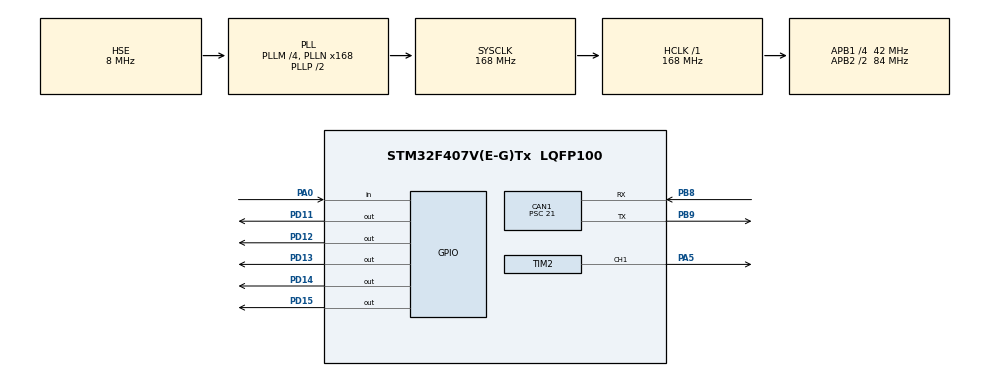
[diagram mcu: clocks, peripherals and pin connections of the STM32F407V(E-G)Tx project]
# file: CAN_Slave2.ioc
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CAN1.BS1=CAN_BS1_2TQ
CAN1.CalculateBaudRate=500000
CAN1.CalculateTimeBit=2000
CAN1.CalculateTimeQuantum=500.0
CAN1.Prescaler=21
Mcu.Family=STM32F4
Mcu.Name=STM32F407V(E-G)Tx
Mcu.Package=LQFP100
NVIC.CAN1_RX0_IRQn=true\:0\:2\:false\:false\:true\:true\:true\:true
NVIC.PriorityGroup=NVIC_PRIORITYGROUP_1
NVIC.TIM2_IRQn=true\:0\:0\:false\:false\:true\:true\:true\:true
PA0-WKUP.Signal=GPIO_Input
PA13.Mode=Serial_Wire
PA13.Signal=SYS_JTMS-SWDIO
PA14.Mode=Serial_Wire
PA14.Signal=SYS_JTCK-SWCLK
PA5.Signal=S_TIM2_CH1_ETR
PB8.Mode=CAN_Activate
PB8.Signal=CAN1_RX
PB9.Mode=CAN_Activate
PB9.Signal=CAN1_TX
PD11.Signal=GPIO_Output
PD12.Signal=GPIO_Output
PD13.Signal=GPIO_Output
PD14.Signal=GPIO_Output
PD15.Signal=GPIO_Output
PH0-OSC_IN.Mode=HSE-External-Oscillator
PH0-OSC_IN.Signal=RCC_OSC_IN
PH1-OSC_OUT.Mode=HSE-External-Oscillator
PH1-OSC_OUT.Signal=RCC_OSC_OUT
ProjectManager.HeapSize=0x200
ProjectManager.StackSize=0x400
ProjectManager.TargetToolchain=STM32CubeIDE
RCC.48MHZClocksFreq_Value=84000000
RCC.AHBFreq_Value=168000000
RCC.APB1CLKDivider=RCC_HCLK_DIV4
RCC.APB1Freq_Value=42000000
RCC.APB1TimFreq_Value=84000000
RCC.APB2CLKDivider=RCC_HCLK_DIV2
RCC.APB2Freq_Value=84000000
RCC.APB2TimFreq_Value=168000000
RCC.CortexFreq_Value=168000000
RCC.HCLKFreq_Value=168000000
RCC.HSE_VALUE=8000000
RCC.HSI_VALUE=16000000
RCC.LSE_VALUE=32768
RCC.PLLM=4
RCC.PLLN=168
RCC.PLLSourceVirtual=RCC_PLLSOURCE_HSE
RCC.SYSCLKFreq_VALUE=168000000
RCC.SYSCLKSource=RCC_SYSCLKSOURCE_PLLCLK
RCC.VCOOutputFreq_Value=336000000
SH.S_TIM2_CH1_ETR.0=TIM2_CH1,PWM Generation1 CH1
TIM2.Channel-PWM\ Generation1\ CH1=TIM_CHANNEL_1
TIM2.Period=1000-1
TIM2.Prescaler=84-1
VP_TIM2_VS_ClockSourceINT.Mode=Internal
board=custom

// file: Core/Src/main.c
/* USER CODE BEGIN Header */
/**
  ******************************************************************************
  * @file           : main.c
  * @brief          : Main program body
  ******************************************************************************
  * @attention
  *
  * Copyright (c) 2023 STMicroelectronics.
  * All rights reserved.
  *
  * This software is licensed under terms that can be found in the LICENSE file
  * in the root directory of this software component.
  * If no LICENSE file comes with this software, it is provided AS-IS.
  *
  ******************************************************************************
  */
/* USER CODE END Header */
#include "main.h"

CAN_HandleTypeDef hcan1;

TIM_HandleTypeDef htim2;

void SystemClock_Config(void);
static void MX_GPIO_Init(void);
static void MX_CAN1_Init(void);
static void MX_TIM2_Init(void);

/* USER CODE BEGIN 0 */
CAN_TxHeaderTypeDef   TxHeader;
CAN_RxHeaderTypeDef   RxHeader;

uint8_t               TxData[8];
uint8_t               RxData[8];

uint32_t              TxMailbox;

uint16_t 	adcValue = 0;
uint32_t 	timeTx = 0;

int pwmLed = 0;

uint8_t btnCheck = 0 ;

//void HAL_GPIO_EXTI_Callback(uint16_t GPIO_Pin){
//	if(GPIO_Pin == GPIO_PIN_0){
//		btnCheck = 1;
////		TxData[0]=  200;
////    /* USER CODE END WHILE */
////		  if (HAL_CAN_AddTxMessage(&hcan1, &TxHeader, TxData, &TxMailbox) != HAL_OK)
////		  {
////		     Error_Handler ();
////		  }
////		  else{
////			  HAL_GPIO_TogglePin(GPIOD, GPIO_PIN_12);
////		  }
//	}
//	else btnCheck = 0;
//}

void HAL_TIM_PeriodElapsedCallback(TIM_HandleTypeDef *htim){
		if (HAL_GPIO_ReadPin(GPIOA, GPIO_PIN_0)){
			btnCheck = 1;
		}
		else{
			btnCheck = 0;
		}

		TxHeader.StdId = 0x0C;
		TxData[0] = btnCheck;
		if (timeTx++ >= 200){
			if (HAL_CAN_AddTxMessage(&hcan1, &TxHeader, TxData, &TxMailbox) != HAL_OK)
				{
				NVIC_SystemReset ();
				}
			timeTx = 0;
		}
}

void HAL_CAN_RxFifo0MsgPendingCallback(CAN_HandleTypeDef *hcan){
	  if (HAL_CAN_GetRxMessage(hcan, CAN_RX_FIFO0, &RxHeader, RxData) != HAL_OK)
	  {
	    Error_Handler();
	  }

	  if (RxHeader.StdId == 0x0B)
	  {
		  adcValue = RxData[0]<<8 | RxData[1];	// RxData[0]: high byte 	RxData[1]: low bytes
	  }
}

void adcHandle(){
	  if(adcValue==0){
		  HAL_GPIO_WritePin(GPIOD, GPIO_PIN_12, RESET);
		  HAL_GPIO_WritePin(GPIOD, GPIO_PIN_13, RESET);
		  HAL_GPIO_WritePin(GPIOD, GPIO_PIN_14, RESET);
		  HAL_GPIO_WritePin(GPIOD, GPIO_PIN_15, RESET);
	  }
	  else if(adcValue > 0 && adcValue <= 1023){
		  HAL_GPIO_WritePin(GPIOD, GPIO_PIN_12, SET);
		  HAL_GPIO_WritePin(GPIOD, GPIO_PIN_13, RESET);
		  HAL_GPIO_WritePin(GPIOD, GPIO_PIN_14, RESET);
		  HAL_GPIO_WritePin(GPIOD, GPIO_PIN_15, RESET);
	  }
	  else if(adcValue > 1023 && adcValue <= 2047){
		  HAL_GPIO_WritePin(GPIOD, GPIO_PIN_12, SET);
		  HAL_GPIO_WritePin(GPIOD, GPIO_PIN_13, SET);
		  HAL_GPIO_WritePin(GPIOD, GPIO_PIN_14, RESET);
		  HAL_GPIO_WritePin(GPIOD, GPIO_PIN_15, RESET);
	  }
	  else if(adcValue > 2047 && adcValue <= 3071){
		  HAL_GPIO_WritePin(GPIOD, GPIO_PIN_12, SET);
		  HAL_GPIO_WritePin(GPIOD, GPIO_PIN_13, SET);
		  HAL_GPIO_WritePin(GPIOD, GPIO_PIN_14, SET);
		  HAL_GPIO_WritePin(GPIOD, GPIO_PIN_15, RESET);
	  }
	  else if(adcValue > 3071 && adcValue < 4080){
		  HAL_GPIO_WritePin(GPIOD, GPIO_PIN_12, SET);
		  HAL_GPIO_WritePin(GPIOD, GPIO_PIN_13, SET);
		  HAL_GPIO_WritePin(GPIOD, GPIO_PIN_14, SET);
		  HAL_GPIO_WritePin(GPIOD, GPIO_PIN_15, SET);
	  }
	  else if( adcValue >= 4080){
		  HAL_Delay(500);
		  HAL_GPIO_TogglePin(GPIOD, GPIO_PIN_12);
		  HAL_GPIO_TogglePin(GPIOD, GPIO_PIN_13);
		  HAL_GPIO_TogglePin(GPIOD, GPIO_PIN_14);
		  HAL_GPIO_TogglePin(GPIOD, GPIO_PIN_15);
	  }

	  pwmLed = adcValue*1000/4095;
	  __HAL_TIM_SetCompare(&htim2,TIM_CHANNEL_1,pwmLed);

}
/* USER CODE END 0 */

int main(void)
{

  /* MCU Configuration--------------------------------------------------------*/

  /* Reset of all peripherals, Initializes the Flash interface and the Systick. */
  HAL_Init();

  /* Configure the system clock */
  SystemClock_Config();

  /* Initialize all configured peripherals */
  MX_GPIO_Init();
  MX_CAN1_Init();
  MX_TIM2_Init();
  /* USER CODE BEGIN 2 */

  HAL_TIM_Base_Start_IT(&htim2);
  HAL_TIM_PWM_Start(&htim2, TIM_CHANNEL_1);
  HAL_CAN_Start(&hcan1);
  HAL_CAN_ActivateNotification(&hcan1, CAN_IT_RX_FIFO0_MSG_PENDING);

  TxHeader.IDE = CAN_ID_STD;
  TxHeader.RTR = CAN_RTR_DATA;
  TxHeader.DLC = 1;

  /* USER CODE END 2 */

  /* Infinite loop */
  while (1)
  {
	  adcHandle();
  }
}

void SystemClock_Config(void)
{
  RCC_OscInitTypeDef RCC_OscInitStruct = {0};
  RCC_ClkInitTypeDef RCC_ClkInitStruct = {0};

  /** Configure the main internal regulator output voltage
  */
  __HAL_RCC_PWR_CLK_ENABLE();
  __HAL_PWR_VOLTAGESCALING_CONFIG(PWR_REGULATOR_VOLTAGE_SCALE1);

  /** Initializes the RCC Oscillators according to the specified parameters
  * in the RCC_OscInitTypeDef structure.
  */
  RCC_OscInitStruct.OscillatorType = RCC_OSCILLATORTYPE_HSE;
  RCC_OscInitStruct.HSEState = RCC_HSE_ON;
  RCC_OscInitStruct.PLL.PLLState = RCC_PLL_ON;
  RCC_OscInitStruct.PLL.PLLSource = RCC_PLLSOURCE_HSE;
  RCC_OscInitStruct.PLL.PLLM = 4;
  RCC_OscInitStruct.PLL.PLLN = 168;
  RCC_OscInitStruct.PLL.PLLP = RCC_PLLP_DIV2;
  RCC_OscInitStruct.PLL.PLLQ = 4;
  if (HAL_RCC_OscConfig(&RCC_OscInitStruct) != HAL_OK)
  {
    Error_Handler();
  }

  /** Initializes the CPU, AHB and APB buses clocks
  */
  RCC_ClkInitStruct.ClockType = RCC_CLOCKTYPE_HCLK|RCC_CLOCKTYPE_SYSCLK
                              |RCC_CLOCKTYPE_PCLK1|RCC_CLOCKTYPE_PCLK2;
  RCC_ClkInitStruct.SYSCLKSource = RCC_SYSCLKSOURCE_PLLCLK;
  RCC_ClkInitStruct.AHBCLKDivider = RCC_SYSCLK_DIV1;
  RCC_ClkInitStruct.APB1CLKDivider = RCC_HCLK_DIV4;
  RCC_ClkInitStruct.APB2CLKDivider = RCC_HCLK_DIV2;

  if (HAL_RCC_ClockConfig(&RCC_ClkInitStruct, FLASH_LATENCY_5) != HAL_OK)
  {
    Error_Handler();
  }
}

static void MX_CAN1_Init(void)
{

  hcan1.Instance = CAN1;
  hcan1.Init.Prescaler = 21;
  hcan1.Init.Mode = CAN_MODE_NORMAL;
  hcan1.Init.SyncJumpWidth = CAN_SJW_1TQ;
  hcan1.Init.TimeSeg1 = CAN_BS1_2TQ;
  hcan1.Init.TimeSeg2 = CAN_BS2_1TQ;
  hcan1.Init.TimeTriggeredMode = DISABLE;
  hcan1.Init.AutoBusOff = DISABLE;
  hcan1.Init.AutoWakeUp = DISABLE;
  hcan1.Init.AutoRetransmission = DISABLE;
  hcan1.Init.ReceiveFifoLocked = DISABLE;
  hcan1.Init.TransmitFifoPriority = DISABLE;
  if (HAL_CAN_Init(&hcan1) != HAL_OK)
  {
    Error_Handler();
  }
  /* USER CODE BEGIN CAN1_Init 2 */

  CAN_FilterTypeDef canfilterconfig;

  canfilterconfig.FilterActivation = CAN_FILTER_ENABLE;
  canfilterconfig.FilterBank = 18;  // which filter bank to use from the assigned ones
  canfilterconfig.FilterFIFOAssignment = CAN_FILTER_FIFO0;
  canfilterconfig.FilterIdHigh = 0x0B<<5;
  canfilterconfig.FilterIdLow = 0;
  canfilterconfig.FilterMaskIdHigh = 0x0B<<5;
  canfilterconfig.FilterMaskIdLow = 0x0000;
  canfilterconfig.FilterMode = CAN_FILTERMODE_IDMASK;
  canfilterconfig.FilterScale = CAN_FILTERSCALE_32BIT;
  canfilterconfig.SlaveStartFilterBank = 20;  // how many filters to assign to the CAN1 (master can)

  HAL_CAN_ConfigFilter(&hcan1, &canfilterconfig);

  /* USER CODE END CAN1_Init 2 */

}

static void MX_TIM2_Init(void)
{

  TIM_ClockConfigTypeDef sClockSourceConfig = {0};
  TIM_MasterConfigTypeDef sMasterConfig = {0};
  TIM_OC_InitTypeDef sConfigOC = {0};

  htim2.Instance = TIM2;
  htim2.Init.Prescaler = 84-1;
  htim2.Init.CounterMode = TIM_COUNTERMODE_UP;
  htim2.Init.Period = 1000-1;
  htim2.Init.ClockDivision = TIM_CLOCKDIVISION_DIV1;
  htim2.Init.AutoReloadPreload = TIM_AUTORELOAD_PRELOAD_DISABLE;
  if (HAL_TIM_Base_Init(&htim2) != HAL_OK)
  {
    Error_Handler();
  }
  sClockSourceConfig.ClockSource = TIM_CLOCKSOURCE_INTERNAL;
  if (HAL_TIM_ConfigClockSource(&htim2, &sClockSourceConfig) != HAL_OK)
  {
    Error_Handler();
  }
  if (HAL_TIM_PWM_Init(&htim2) != HAL_OK)
  {
    Error_Handler();
  }
  sMasterConfig.MasterOutputTrigger = TIM_TRGO_RESET;
  sMasterConfig.MasterSlaveMode = TIM_MASTERSLAVEMODE_DISABLE;
  if (HAL_TIMEx_MasterConfigSynchronization(&htim2, &sMasterConfig) != HAL_OK)
  {
    Error_Handler();
  }
  sConfigOC.OCMode = TIM_OCMODE_PWM1;
  sConfigOC.Pulse = 0;
  sConfigOC.OCPolarity = TIM_OCPOLARITY_HIGH;
  sConfigOC.OCFastMode = TIM_OCFAST_DISABLE;
  if (HAL_TIM_PWM_ConfigChannel(&htim2, &sConfigOC, TIM_CHANNEL_1) != HAL_OK)
  {
    Error_Handler();
  }
  HAL_TIM_MspPostInit(&htim2);

}

static void MX_GPIO_Init(void)
{
  GPIO_InitTypeDef GPIO_InitStruct = {0};

  /* GPIO Ports Clock Enable */
  __HAL_RCC_GPIOH_CLK_ENABLE();
  __HAL_RCC_GPIOA_CLK_ENABLE();
  __HAL_RCC_GPIOD_CLK_ENABLE();
  __HAL_RCC_GPIOB_CLK_ENABLE();

  /*Configure GPIO pin Output Level */
  HAL_GPIO_WritePin(GPIOD, GPIO_PIN_11|GPIO_PIN_12|GPIO_PIN_13|GPIO_PIN_14
                          |GPIO_PIN_15, GPIO_PIN_RESET);

  /*Configure GPIO pin : PA0 */
  GPIO_InitStruct.Pin = GPIO_PIN_0;
  GPIO_InitStruct.Mode = GPIO_MODE_INPUT;
  GPIO_InitStruct.Pull = GPIO_NOPULL;
  HAL_GPIO_Init(GPIOA, &GPIO_InitStruct);

  /*Configure GPIO pins : PD11 PD12 PD13 PD14
                           PD15 */
  GPIO_InitStruct.Pin = GPIO_PIN_11|GPIO_PIN_12|GPIO_PIN_13|GPIO_PIN_14
                          |GPIO_PIN_15;
  GPIO_InitStruct.Mode = GPIO_MODE_OUTPUT_PP;
  GPIO_InitStruct.Pull = GPIO_NOPULL;
  GPIO_InitStruct.Speed = GPIO_SPEED_FREQ_LOW;
  HAL_GPIO_Init(GPIOD, &GPIO_InitStruct);

}

void Error_Handler(void)
{
  __disable_irq();
  while (1)
  {
  }
}
